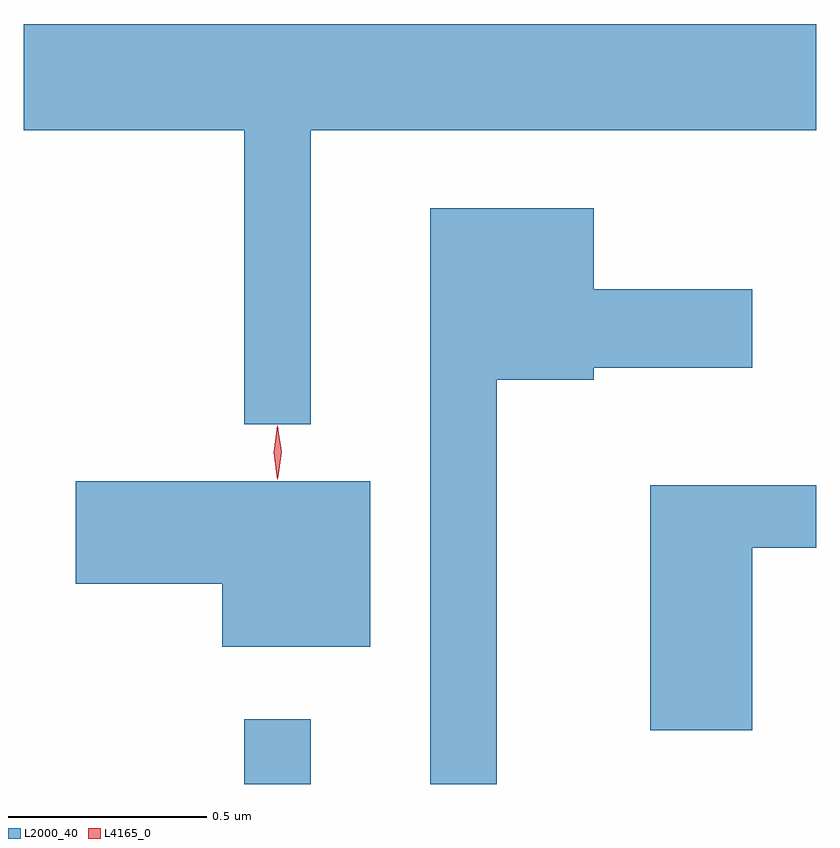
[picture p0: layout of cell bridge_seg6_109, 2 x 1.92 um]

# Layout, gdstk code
import gdstk
lib = gdstk.Library(unit=1e-6, precision=1e-09)
def R(c, l, rs):  # rectangles x0, y0, x1, y1
    for r in rs: c.add(gdstk.rectangle(r[:2], r[2:], *l))
def P(c, l, *ps):  # polygons
    for p in ps: c.add(gdstk.Polygon(p, *l))
L2000_40 = (2000, 40)
L4165_0 = (4165, 0)

bridge_seg6_109 = lib.new_cell('bridge_seg6_109')
R(bridge_seg6_109, L2000_40, [(1125.551,1641.625,1125.719,1641.788)])
P(bridge_seg6_109, L2000_40, [(1125.719,1643.276),(1126.995,1643.276),(1126.995,1643.544),(1124.995,1643.544),(1124.995,1643.276),(1125.551,1643.276),(1125.551,1642.533),(1125.719,1642.533)],
  [(1126.189,1642.646),(1126.434,1642.646),(1126.434,1642.676),(1126.834,1642.676),(1126.834,1642.874),(1126.434,1642.874),(1126.434,1643.079),(1126.021,1643.079),(1126.021,1641.625),(1126.189,1641.625)],
  [(1125.869,1642.389),(1125.126,1642.389),(1125.126,1642.131),(1125.496,1642.131),(1125.496,1641.971),(1125.869,1641.971)],
  [(1126.834,1642.221),(1126.995,1642.221),(1126.995,1642.379),(1126.576,1642.379),(1126.576,1641.761),(1126.834,1641.761)])
P(bridge_seg6_109, L4165_0, [(1125.635,1642.394),(1125.626,1642.462),(1125.634,1642.53),(1125.635,1642.53),(1125.636,1642.53),(1125.645,1642.462),(1125.636,1642.394),(1125.636,1642.394)],
  [(1125.636,1642.4),(1125.636,1642.401),(1125.626,1642.463),(1125.634,1642.526),(1125.635,1642.527),(1125.636,1642.526),(1125.646,1642.464),(1125.637,1642.401)])

lib.write_gds('bridge_seg6_109.gds')
